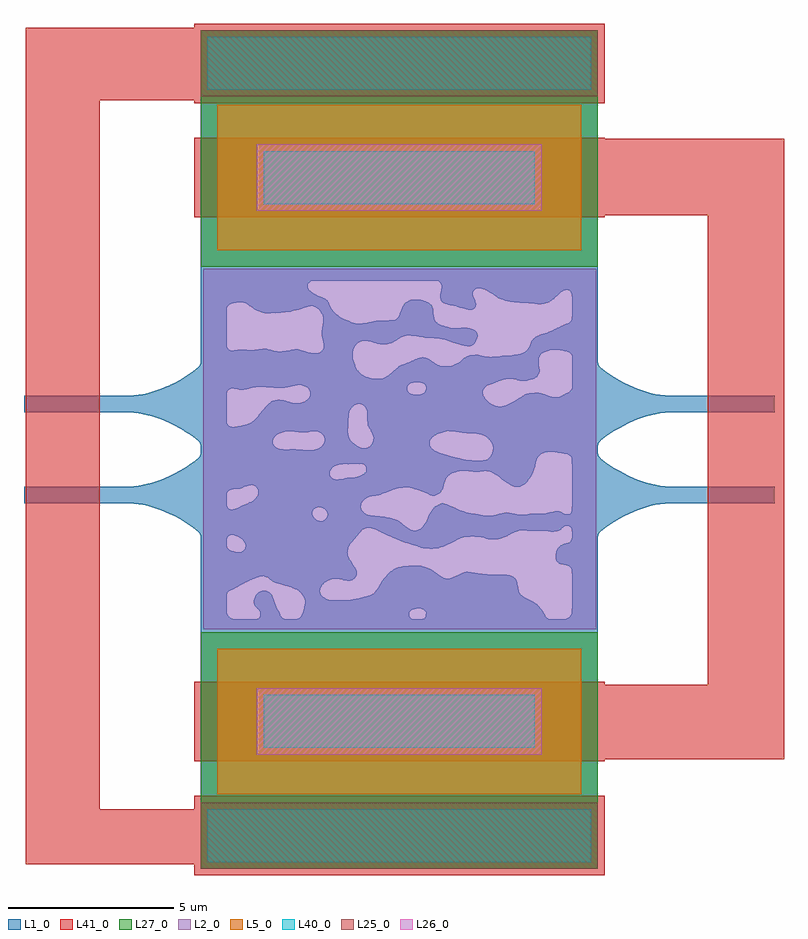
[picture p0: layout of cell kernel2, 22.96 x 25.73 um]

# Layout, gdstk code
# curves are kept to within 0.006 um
import gdstk
lib = gdstk.Library(unit=1e-6, precision=1e-09)
def R(c, l, rs):  # rectangles x0, y0, x1, y1
    for r in rs: c.add(gdstk.rectangle(r[:2], r[2:], *l))
def P(c, l, *ps):  # polygons
    for p in ps: c.add(gdstk.Polygon(p, *l))
L1_0 = (1, 0)
L2_0 = (2, 0)
L5_0 = (5, 0)
L25_0 = (25, 0)
L26_0 = (26, 0)
L27_0 = (27, 0)
L40_0 = (40, 0)
L41_0 = (41, 0)

abs_k2 = lib.new_cell('Abs_k2')
R(abs_k2, L1_0, [(15.1,-4.5,27.1,2.65)])
R(abs_k2, L5_0, [(15.6,-4,26.6,0.4)])
R(abs_k2, L25_0, [(15.1,0.65,27.1,2.65)])
R(abs_k2, L26_0, [(16.8,-2.8,25.4,-0.8)])
R(abs_k2, L27_0, [(15.1,-4.5,27.1,2.65)])
R(abs_k2, L40_0, [(17,-2.6,25.194,-1), (15.3,0.85,26.9,2.45)])
R(abs_k2, L41_0, [(14.9,-3,27.3,-0.6), (14.9,0.45,27.3,2.85)])

kernel2 = lib.new_cell('kernel2')
P(kernel2, L1_0, [(6.219,-2.884),(6.219,-1.723),(6.233,-1.794),(6.268,-1.851),(6.323,-1.888),(6.384,-1.896),(6.384,-2.651),(6.312,-2.669),(6.255,-2.715),(6.226,-2.785)],
  [(6.219,-1.494),(6.219,0.86),(6.227,0.734),(6.248,0.682),(6.289,0.634),(6.371,0.603),(6.467,0.604),(6.79,0.665),(6.882,0.697),(6.995,0.76),(6.995,-1.147),(6.948,-1.15),(6.83,-1.181),(6.628,-1.256),(6.397,-1.282),(6.311,-1.304),(6.275,-1.329),(6.242,-1.376)],
  [(6.219,1.447),(6.219,3.273),(6.229,3.025),(6.274,2.953),(6.335,2.914),(6.4,2.91),(6.647,2.937),(6.996,2.926),(7.327,2.964),(7.425,2.962),(7.425,1.807),(7.301,1.819),(7.15,1.815),(7.045,1.799),(6.835,1.746),(6.687,1.73),(6.6,1.733),(6.408,1.771),(6.341,1.764),(6.283,1.728),(6.234,1.662),(6.224,1.624)],
  [(5.438,-5.594),(5.438,-2.712),(5.421,-2.636),(5.388,-2.582),(5.211,-2.443),(4.799,-2.175),(4.662,-2.099),(4.387,-1.967),(4.25,-1.911),(3.975,-1.819),(3.7,-1.753),(3.563,-1.73),(3.288,-1.703),(3.15,-1.7),(0.1,-1.7),(0.1,-1.2),(3.288,-1.197),(3.425,-1.187),(3.702,-1.147),(3.975,-1.081),(4.112,-1.038),(4.387,-0.933),(4.662,-0.801),(4.799,-0.725),(5.074,-0.553),(5.37,-0.337),(5.416,-0.275),(5.438,-0.188),(5.437,0.046),(5.421,0.109),(5.396,0.153),(5.349,0.2),(5.211,0.302),(4.937,0.487),(4.662,0.646),(4.524,0.715),(4.25,0.834),(4.112,0.883),(3.975,0.926),(3.7,0.992),(3.425,1.032),(3.15,1.045),(0.1,1.045),(0.1,1.545),(3.15,1.545),(3.425,1.558),(3.7,1.598),(3.837,1.628),(3.975,1.664),(4.25,1.756),(4.662,1.944),(4.937,2.103),(5.211,2.288),(5.37,2.408),(5.416,2.47),(5.437,2.544),(5.438,5.439),(6.218,5.439),(6.218,-5.594)],
  [(6.218,-5.594),(6.218,-4.82),(6.222,-4.961),(6.239,-5.053),(6.286,-5.129),(6.369,-5.186),(6.437,-5.201),(6.535,-5.204),(7.015,-5.204),(7.168,-5.192),(7.201,-5.164),(7.235,-5.099),(7.238,-4.995),(7.228,-4.966),(7.098,-4.829),(7.068,-4.786),(7.044,-4.702),(7.051,-4.607),(7.113,-4.471),(7.188,-4.397),(7.244,-4.369),(7.321,-4.348),(7.379,-4.344),(7.425,-4.352),(7.425,-5.594)],
  [(6.218,-4.553),(6.218,-1.651),(6.219,-1.7),(6.219,-4.522)],
  [(6.218,-1.548),(6.218,0.915),(6.219,0.86),(6.219,-1.494)],
  [(6.218,1.278),(6.218,3.493),(6.219,3.361),(6.219,1.378)],
  [(7.425,4.043),(7.328,4.055),(7.14,4.121),(7.045,4.174),(6.805,4.341),(6.685,4.371),(6.562,4.373),(6.341,4.322),(6.269,4.272),(6.218,4.186),(6.218,5.439),(7.425,5.439)],
  [(7.18,-1.329),(7.157,-1.261),(7.111,-1.203),(7.058,-1.168),(6.995,-1.147),(6.995,0.76),(7.069,0.822),(7.18,0.943)],
  [(7.18,-3.934),(7.18,0.943),(7.285,1.079),(7.425,1.236),(7.425,-3.931),(7.345,-3.909),(7.286,-3.904)],
  [(6.219,-4.522),(6.219,-2.921),(6.234,-3.025),(6.287,-3.098),(6.367,-3.139),(6.554,-3.184),(6.641,-3.18),(6.705,-3.15),(6.762,-3.089),(6.785,-3.046),(6.795,-3.002),(6.795,-4.09),(6.473,-4.276),(6.289,-4.355),(6.262,-4.381),(6.231,-4.442)],
  [(6.795,-2.968),(6.778,-2.915),(6.738,-2.851),(6.632,-2.743),(6.447,-2.664),(6.384,-2.651),(6.384,-1.896),(6.524,-1.856),(6.795,-1.733)],
  [(6.795,-4.09),(6.795,-1.733),(6.9,-1.682),(6.958,-1.665),(7.072,-1.586),(7.14,-1.497),(7.172,-1.427),(7.18,-1.384),(7.18,-3.934),(6.973,-4.009)],
  [(8.804,-5.594),(8.804,-2.024),(8.832,-2.1),(8.884,-2.166),(8.953,-2.216),(9.03,-2.239),(9.094,-2.238),(9.168,-2.215),(9.252,-2.126),(9.271,-2.066),(9.271,-4.044),(9.175,-4.109),(9.117,-4.165),(9.059,-4.258),(9.04,-4.337),(9.045,-4.398),(9.063,-4.447),(9.12,-4.519),(9.181,-4.563),(9.258,-4.604),(9.337,-4.627),(9.909,-4.628),(10.052,-4.605),(10.459,-4.514),(10.572,-4.48),(10.659,-4.428),(10.718,-4.368),(10.957,-4.002),(11.151,-3.789),(11.307,-3.679),(11.44,-3.631),(11.44,-5.594)],
  [(8.804,-1.987),(8.804,-0.099),(8.916,-0.076),(9.022,-0.034),(9.022,-1.817),(8.954,-1.827),(8.881,-1.863),(8.832,-1.912)],
  [(9.156,3.038),(9.138,3.193),(9.089,3.408),(9.141,3.797),(9.135,3.932),(9.101,4.019),(9.049,4.096),(8.975,4.176),(8.907,4.226),(8.84,4.254),(8.768,4.259),(8.667,4.24),(8.321,4.126),(8.161,4.091),(7.652,4.04),(7.425,4.043),(7.425,5.439),(11.44,5.439),(11.44,5.013),(8.779,5.013),(8.723,4.974),(8.679,4.911),(8.673,4.847),(8.682,4.795),(8.732,4.723),(8.803,4.665),(8.972,4.564),(9.156,4.495)],
  [(9.271,-2.031),(9.251,-1.956),(9.194,-1.886),(9.107,-1.836),(9.022,-1.817),(9.022,-0.034),(9.089,0.014),(9.131,0.063),(9.171,0.138),(9.184,0.205),(9.179,0.263),(9.156,0.323),(9.156,4.495),(9.21,4.467),(9.271,4.41)],
  [(11.44,-2.823),(11.403,-2.808),(11.403,-2.229),(11.422,-2.24),(11.44,-2.251)],
  [(11.403,-1.248),(11.403,2.414),(11.412,2.421),(11.423,2.43),(11.434,2.438),(11.44,2.441),(11.44,-1.24)],
  [(11.403,3.261),(11.403,3.912),(11.407,3.918),(11.412,3.925),(11.421,3.941),(11.429,3.958),(11.438,3.979),(11.44,3.984),(11.44,3.284),(11.416,3.27)],
  [(7.425,-5.594),(7.425,-4.352),(7.52,-4.404),(7.591,-4.48),(7.688,-4.744),(7.806,-4.986),(7.836,-5.07),(7.836,-5.594)],
  [(8.594,-4.648),(8.58,-4.59),(8.518,-4.474),(8.449,-4.392),(8.365,-4.326),(8.167,-4.244),(7.9,-4.17),(7.671,-4.093),(7.594,-4.049),(7.484,-3.959),(7.425,-3.931),(7.425,1.236),(7.515,1.327),(7.586,1.379),(7.724,1.414),(7.836,1.417),(7.836,0.415),(7.724,0.351),(7.677,0.31),(7.647,0.269),(7.609,0.171),(7.612,0.125),(7.634,0.069),(7.704,-0.009),(7.788,-0.054),(7.842,-0.068),(7.986,-0.081),(8.268,-0.07),(8.594,-0.096)],
  [(9.149,0.335),(9.102,0.393),(9.054,0.433),(8.984,0.465),(8.824,0.467),(8.594,0.438),(8.594,1.382),(8.663,1.429),(8.707,1.478),(8.738,1.535),(8.752,1.591),(8.748,1.649),(8.732,1.7),(8.675,1.781),(8.585,1.835),(8.387,1.871),(8.073,1.809),(7.902,1.789),(7.425,1.807),(7.425,2.962),(7.688,2.895),(7.788,2.882),(7.955,2.892),(8.194,2.937),(8.364,2.947),(8.74,2.842),(8.906,2.83),(8.967,2.833),(9.035,2.851),(9.1,2.901),(9.149,2.973)],
  [(7.836,-5.594),(7.836,-5.072),(7.897,-5.157),(7.935,-5.186),(7.972,-5.199),(8.269,-5.204),(8.341,-5.199),(8.389,-5.184),(8.44,-5.148),(8.47,-5.112),(8.521,-5.017),(8.57,-4.839),(8.594,-4.681),(8.594,-5.594)],
  [(7.836,0.415),(7.836,1.417),(7.98,1.396),(8.11,1.358),(8.11,0.481),(8.015,0.476)],
  [(8.54,0.438),(8.349,0.453),(8.244,0.475),(8.11,0.481),(8.11,1.358),(8.253,1.321),(8.409,1.316),(8.488,1.335),(8.594,1.382),(8.594,0.438)],
  [(8.594,-5.594),(8.594,-0.096),(8.804,-0.099),(8.804,-5.594)],
  [(9.156,0.323),(9.149,0.335),(9.149,2.973),(9.151,2.978),(9.152,2.983),(9.154,2.996),(9.156,3.024)],
  [(9.271,-4.044),(9.271,4.41),(9.308,4.353),(9.333,4.286),(9.333,-4.013)],
  [(9.859,-4.038),(9.533,-3.982),(9.409,-3.989),(9.333,-4.013),(9.333,-0.81),(9.348,-0.872),(9.372,-0.91),(9.415,-0.95),(9.476,-0.98),(9.68,-0.979),(9.874,-0.938),(9.874,-4.038)],
  [(9.333,-0.792),(9.333,4.286),(9.395,4.167),(9.491,4.052),(9.589,3.971),(9.743,3.875),(9.743,-0.513),(9.559,-0.547),(9.453,-0.598),(9.411,-0.632),(9.366,-0.689),(9.342,-0.744)],
  [(9.874,-0.516),(9.743,-0.513),(9.743,3.875),(9.874,3.818)],
  [(9.892,-4.039),(9.874,-4.038),(9.874,-3.205),(9.886,-3.272),(9.925,-3.371),(10.126,-3.69),(10.16,-3.798),(10.145,-3.881),(10.113,-3.938),(10.075,-3.98),(9.988,-4.03)],
  [(10.659,0.277),(10.649,0.347),(10.607,0.439),(10.509,0.603),(10.488,0.661),(10.476,0.809),(10.473,1.084),(10.42,1.188),(10.378,1.239),(10.317,1.28),(10.227,1.303),(10.227,2.259),(10.294,2.197),(10.398,2.137),(10.572,2.076),(10.659,2.06)],
  [(10.659,-1.479),(10.659,2.06),(10.926,2.063),(11.055,2.128),(11.13,2.178),(11.403,2.414),(11.403,-1.248),(11.237,-1.299),(10.845,-1.446)],
  [(9.874,-3.168),(9.874,-0.938),(9.884,-0.937),(9.884,-3.12),(9.878,-3.145),(9.877,-3.153),(9.875,-3.16)],
  [(9.874,-0.516),(9.874,3.818),(9.884,3.814),(9.884,-0.516)],
  [(9.884,-3.12),(9.884,-0.937),(10.167,-0.906),(10.244,-0.881),(10.418,-0.769),(10.439,-0.716),(10.444,-0.673),(10.444,-1.545),(10.357,-1.606),(10.305,-1.69),(10.276,-1.799),(10.293,-1.887),(10.327,-1.941),(10.38,-1.996),(10.438,-2.034),(10.505,-2.059),(10.997,-2.116),(11.207,-2.157),(11.335,-2.195),(11.335,-2.779),(11.013,-2.643),(10.694,-2.485),(10.562,-2.449),(10.492,-2.445),(10.433,-2.453),(10.377,-2.472),(10.325,-2.507),(9.974,-2.909),(9.923,-2.99)],
  [(10.444,-0.656),(10.432,-0.607),(10.413,-0.574),(10.341,-0.524),(10.299,-0.514),(9.884,-0.516),(9.884,0.478),(9.897,0.372),(9.924,0.27),(9.967,0.194),(10.031,0.127),(10.145,0.042),(10.269,-0.02),(10.372,-0.043),(10.444,-0.036)],
  [(9.884,0.493),(9.884,3.814),(10.084,3.736),(10.209,3.724),(10.402,3.739),(10.746,3.805),(11.245,3.825),(11.335,3.848),(11.335,3.213),(11.298,3.187),(11.221,3.148),(11.115,3.115),(11.028,3.099),(10.933,3.096),(10.789,3.115),(10.501,3.197),(10.421,3.21),(10.35,3.207),(10.262,3.184),(10.198,3.15),(10.123,3.079),(10.075,2.999),(10.029,2.839),(10.025,2.757),(10.034,2.679),(10.113,2.433),(10.175,2.323),(10.227,2.259),(10.227,1.303),(10.144,1.29),(10.048,1.235),(9.984,1.17),(9.933,1.081),(9.907,0.952)],
  [(10.444,-1.545),(10.444,-0.036),(10.531,0.008),(10.586,0.061),(10.641,0.156),(10.659,0.246),(10.659,-1.479),(10.535,-1.506)],
  [(11.403,-2.808),(11.39,-2.803),(11.359,-2.79),(11.335,-2.779),(11.335,-2.195),(11.351,-2.202),(11.387,-2.22),(11.403,-2.229)],
  [(11.335,3.213),(11.335,3.848),(11.341,3.851),(11.358,3.865),(11.382,3.887),(11.393,3.899),(11.403,3.911),(11.403,3.261),(11.385,3.249),(11.354,3.227)],
  [(11.44,-5.594),(11.44,-3.631),(11.587,-3.606),(11.764,-3.596),(11.764,-4.962),(11.75,-4.981),(11.733,-5.041),(11.746,-5.121),(11.764,-5.149),(11.764,-5.594)],
  [(11.764,-5.594),(11.764,-5.149),(11.788,-5.176),(11.846,-5.199),(12.1,-5.204),(12.152,-5.193),(12.2,-5.168),(12.231,-5.126),(12.231,-5.594)],
  [(11.764,-4.962),(11.764,-3.596),(12.018,-3.591),(12.018,-4.873),(11.838,-4.911),(11.81,-4.923)],
  [(12.231,-4.974),(12.209,-4.943),(12.138,-4.901),(12.018,-4.873),(12.018,-3.591),(12.131,-3.599),(12.231,-3.628)],
  [(12.231,-5.594),(12.231,-5.126),(12.244,-5.075),(12.246,-5.007),(12.231,-4.974),(12.231,-3.628),(12.424,-3.715),(12.686,-3.904),(12.803,-3.966),(12.857,-3.98),(12.976,-3.974),(13.292,-3.828),(13.475,-3.777),(13.605,-3.788),(13.998,-3.849),(14.688,-3.868),(14.82,-3.897),(14.907,-3.947),(14.97,-4.017),(15,-4.101),(15.054,-4.366),(15.108,-4.46),(15.157,-4.503),(15.25,-4.558),(15.533,-4.708),(15.62,-4.78),(15.62,-5.594)],
  [(12.364,-3.07),(12.227,-3.065),(12.117,-3.047),(11.892,-2.964),(11.695,-2.913),(11.44,-2.823),(11.44,-2.251),(11.711,-2.459),(11.8,-2.51),(11.912,-2.531),(12.015,-2.507),(12.111,-2.447),(12.198,-2.34),(12.247,-2.261),(12.361,-2.017),(12.478,-1.845),(12.565,-1.776),(12.692,-1.715),(12.692,-3.035),(12.57,-3.065)],
  [(12.692,-3.035),(12.692,-1.715),(12.725,-1.703),(12.785,-1.709),(12.998,-1.785),(13.202,-1.881),(13.385,-1.949),(13.521,-1.984),(13.987,-2.076),(14.174,-2.082),(14.278,-2.075),(14.673,-1.972),(14.807,-2.004),(15.071,-2.048),(15.238,-2.046),(15.397,-2.022),(15.62,-2.015),(15.62,-2.533),(15.086,-2.52),(14.899,-2.585),(14.609,-2.729),(14.493,-2.769),(14.4,-2.788),(14.127,-2.786),(13.91,-2.725),(13.776,-2.708),(13.576,-2.706),(13.417,-2.719),(13.266,-2.767),(12.959,-2.926)],
  [(15.012,-1.21),(14.913,-1.198),(14.823,-1.163),(14.553,-0.985),(14.415,-0.878),(14.275,-0.79),(14.275,1.267),(14.462,1.218),(14.61,1.243),(14.735,1.287),(14.857,1.343),(15.169,1.546),(15.26,1.593),(15.438,1.625),(15.62,1.632),(15.62,-0.319),(15.565,-0.466),(15.537,-0.611),(15.505,-0.703),(15.457,-0.82),(15.38,-0.948),(15.299,-1.056),(15.223,-1.124),(15.089,-1.199)],
  [(12.948,-0.849),(12.948,-0.265),(13.486,-0.398),(13.676,-0.41),(14.009,-0.406),(14.068,-0.393),(14.103,-0.374),(14.153,-0.333),(14.201,-0.275),(14.243,-0.188),(14.275,-0.042),(14.275,-0.79),(14.116,-0.736),(14.049,-0.724),(13.837,-0.746),(13.277,-0.728),(13.087,-0.773)],
  [(14.275,-0.017),(14.233,0.106),(14.16,0.22),(14.077,0.291),(13.944,0.365),(13.801,0.398),(13.368,0.428),(13.085,0.475),(12.948,0.481),(12.948,2.441),(13.074,2.475),(13.186,2.523),(13.405,2.688),(13.568,2.777),(13.796,2.78),(14.091,2.722),(14.322,2.721),(15.036,2.799),(15.182,2.846),(15.266,2.897),(15.266,1.995),(15.072,2.007),(14.861,2.055),(14.69,2.056),(14.634,2.047),(14.408,1.974),(14.118,1.86),(14.023,1.795),(13.993,1.758),(13.966,1.701),(13.958,1.662),(13.965,1.602),(14.004,1.513),(14.037,1.463),(14.17,1.325),(14.275,1.267)],
  [(15.266,1.995),(15.266,2.897),(15.315,2.944),(15.352,3.002),(15.409,3.149),(15.443,3.209),(15.551,3.321),(15.62,3.36),(15.62,2.149),(15.573,2.1),(15.495,2.057)],
  [(11.44,-1.24),(11.44,2.441),(11.501,2.473),(11.673,2.537),(11.673,-1.222)],
  [(12.463,-1.476),(12.374,-1.453),(11.867,-1.257),(11.765,-1.23),(11.673,-1.222),(11.673,1.75),(11.69,1.691),(11.743,1.629),(11.811,1.592),(11.878,1.578),(12.014,1.571),(12.093,1.585),(12.168,1.62),(12.229,1.692),(12.25,1.778),(12.244,1.828),(12.224,1.869),(12.188,1.903),(12.135,1.932),(12.05,1.949),(12.05,2.69),(12.138,2.702),(12.267,2.681),(12.352,2.639),(12.351,0.102),(12.36,0.05),(12.408,-0.035),(12.5,-0.109),(12.648,-0.172),(12.948,-0.265),(12.948,-0.849),(12.901,-0.889),(12.848,-0.962),(12.798,-1.102),(12.772,-1.219),(12.711,-1.339),(12.632,-1.409),(12.539,-1.456)],
  [(11.673,1.776),(11.673,2.537),(11.945,2.654),(12.05,2.69),(12.05,1.949),(11.852,1.943),(11.773,1.92),(11.734,1.893),(11.702,1.856)],
  [(12.352,0.138),(12.352,2.639),(12.535,2.516),(12.662,2.455),(12.795,2.431),(12.948,2.441),(12.948,0.481),(12.893,0.48),(12.671,0.414),(12.516,0.347),(12.45,0.301),(12.403,0.254),(12.371,0.201)],
  [(13.517,3.047),(13.346,3.066),(12.821,3.231),(12.586,3.277),(12.211,3.303),(11.84,3.36),(11.728,3.368),(11.585,3.35),(11.44,3.284),(11.44,3.984),(11.492,4.133),(11.556,4.271),(11.634,4.357),(11.786,4.441),(12.083,4.439),(12.173,4.419),(12.343,4.342),(12.392,4.299),(12.434,4.243),(12.46,4.174),(12.469,4.038),(12.5,3.848),(12.54,3.782),(12.621,3.714),(12.754,3.66),(13.014,3.589),(13.484,3.596),(13.613,3.57),(13.7,3.532),(13.767,3.476),(13.8,3.412),(13.803,3.34),(13.767,3.222),(13.723,3.139),(13.665,3.086),(13.587,3.05)],
  [(13.583,4.142),(13.409,4.171),(13.079,4.266),(12.923,4.292),(12.777,4.351),(12.73,4.384),(12.69,4.456),(12.673,4.551),(12.676,4.608),(12.716,4.805),(12.714,4.887),(12.702,4.923),(12.674,4.962),(12.597,5.013),(11.44,5.013),(11.44,5.439),(15.62,5.439),(15.62,4.315),(15.469,4.339),(15.002,4.367),(14.72,4.399),(14.572,4.44),(14.454,4.487),(14.216,4.643),(13.976,4.769),(13.914,4.79),(13.822,4.796),(13.756,4.781),(13.714,4.753),(13.673,4.701),(13.652,4.644),(13.656,4.586),(13.715,4.457),(13.748,4.356),(13.756,4.313),(13.749,4.26),(13.721,4.209),(13.688,4.177),(13.635,4.15)],
  [(15.62,-5.594),(15.62,-4.78),(15.735,-4.917),(15.869,-5.125),(15.899,-5.159),(15.956,-5.2),(16.454,-5.199),(16.503,-5.188),(16.563,-5.153),(16.607,-5.105),(16.636,-5.05),(16.655,-4.916),(16.658,-4.598),(16.658,-5.594)],
  [(16.658,-2.629),(16.655,-2.525),(16.642,-2.455),(16.628,-2.436),(16.55,-2.388),(16.489,-2.383),(16.407,-2.403),(16.298,-2.507),(16.209,-2.543),(16.039,-2.557),(15.851,-2.534),(15.62,-2.533),(15.62,-2.015),(15.833,-2.012),(16.089,-1.957),(16.25,-1.936),(16.342,-1.972),(16.434,-2.032),(16.49,-2.04),(16.57,-2.027),(16.615,-1.997),(16.648,-1.934),(16.658,-1.652)],
  [(16.658,-0.98),(16.653,-0.353),(16.632,-0.308),(16.568,-0.242),(16.481,-0.209),(16.239,-0.175),(16.125,-0.15),(15.913,-0.154),(15.826,-0.168),(15.769,-0.193),(15.677,-0.253),(15.62,-0.319),(15.62,1.632),(15.774,1.604),(16.023,1.511),(16.261,1.508),(16.556,1.647),(16.615,1.706),(16.658,1.787)],
  [(15.62,2.149),(15.62,3.36),(15.995,3.492),(16.384,3.678),(16.576,3.753),(16.605,3.775),(16.645,3.843),(16.658,4.004),(16.658,2.739),(16.615,2.821),(16.558,2.864),(16.492,2.889),(16.295,2.926),(16.036,2.939),(15.779,2.842),(15.733,2.809),(15.696,2.767),(15.651,2.665),(15.644,2.603),(15.649,2.5),(15.678,2.301),(15.66,2.224)],
  [(15.654,4.31),(15.62,4.315),(15.62,5.439),(16.658,5.439),(16.658,4.473),(16.65,4.618),(16.624,4.68),(16.555,4.737),(16.464,4.746),(16.401,4.726),(16.349,4.694),(16.098,4.469),(15.962,4.373),(15.819,4.327)],
  [(16.658,-3.934),(16.65,-3.714),(16.618,-3.638),(16.548,-3.587),(16.32,-3.541),(16.265,-3.516),(16.22,-3.478),(16.187,-3.432),(16.171,-3.394),(16.16,-3.319),(16.168,-3.226),(16.187,-3.153),(16.237,-3.056),(16.281,-3.008),(16.345,-2.963),(16.409,-2.936),(16.546,-2.9),(16.607,-2.857),(16.648,-2.783),(16.658,-2.668)],
  [(16.658,-5.594),(16.658,5.439),(17.438,5.439),(17.438,2.557),(17.455,2.481),(17.488,2.427),(17.665,2.288),(18.077,2.02),(18.214,1.944),(18.489,1.812),(18.626,1.756),(18.901,1.664),(19.176,1.598),(19.313,1.575),(19.588,1.548),(19.726,1.545),(22.776,1.545),(22.776,1.045),(19.588,1.042),(19.451,1.032),(19.176,0.992),(18.901,0.926),(18.764,0.883),(18.489,0.778),(18.214,0.646),(18.077,0.57),(17.802,0.398),(17.506,0.182),(17.46,0.12),(17.438,0.033),(17.439,-0.201),(17.455,-0.264),(17.48,-0.308),(17.527,-0.355),(17.665,-0.457),(17.939,-0.642),(18.214,-0.801),(18.352,-0.87),(18.626,-0.989),(18.764,-1.038),(18.901,-1.081),(19.176,-1.147),(19.451,-1.187),(19.726,-1.2),(22.776,-1.2),(22.776,-1.7),(19.726,-1.7),(19.451,-1.713),(19.176,-1.753),(19.039,-1.783),(18.901,-1.819),(18.626,-1.911),(18.214,-2.099),(17.939,-2.258),(17.665,-2.443),(17.506,-2.563),(17.46,-2.625),(17.439,-2.699),(17.438,-5.594)])
R(kernel2, L2_0, [(5.51,-5.509,17.394,5.385)])
R(kernel2, L41_0, [(0.16,-12.6,2.39,12.67), (0.44,-12.6,5.72,-10.95), (16.55,-9.44,22.66,-7.19), (20.75,-9.44,23.06,9.31), (17.24,7,22.96,9.31), (0.16,10.47,6.97,12.67)])
kernel2.add(gdstk.Reference(abs_k2, (-9.662,-10.094), x_reflection=True))
kernel2.add(gdstk.Reference(abs_k2, (-9.662,9.939)))

lib.write_gds('kernel2.gds')
